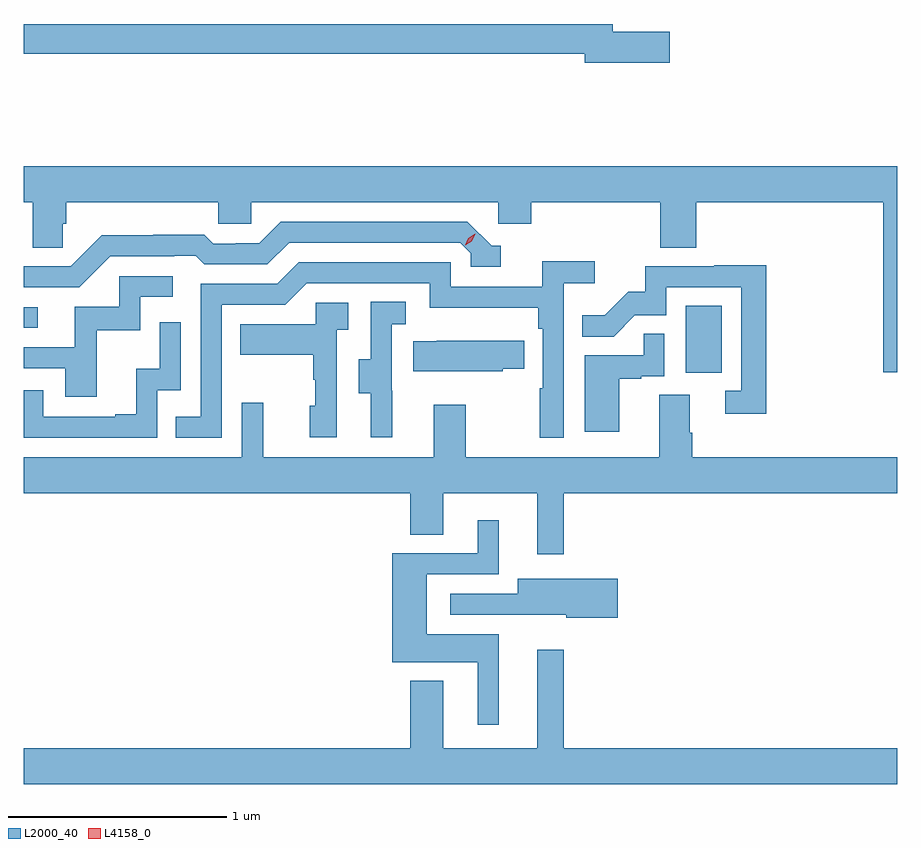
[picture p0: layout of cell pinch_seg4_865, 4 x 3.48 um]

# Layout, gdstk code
import gdstk
lib = gdstk.Library(unit=1e-6, precision=1e-09)
def R(c, l, rs):  # rectangles x0, y0, x1, y1
    for r in rs: c.add(gdstk.rectangle(r[:2], r[2:], *l))
def P(c, l, *ps):  # polygons
    for p in ps: c.add(gdstk.Polygon(p, *l))
L2000_40 = (2000, 40)
L4158_0 = (4158, 0)

pinch_seg4_865 = lib.new_cell('pinch_seg4_865')
R(pinch_seg4_865, L2000_40, [(845.348,790.71,845.512,791.017), (842.316,790.917,842.38,791.01)])
P(pinch_seg4_865, L2000_40, [(845.275,792.272),(845.014,792.272),(845.014,792.308),(842.316,792.308),(842.316,792.172),(844.886,792.172),(844.886,792.13),(845.275,792.13)],
  [(846.316,791.656),(842.316,791.656),(842.316,791.492),(842.358,791.492),(842.358,791.284),(842.495,791.284),(842.495,791.394),(842.51,791.394),(842.51,791.492),(843.207,791.492),(843.207,791.394),(843.357,791.394),(843.357,791.492),(844.488,791.492),(844.488,791.394),(844.64,791.394),(844.64,791.492),(845.231,791.492),(845.231,791.284),(845.396,791.284),(845.396,791.492),(846.251,791.492),(846.251,790.713),(846.316,790.713)],
  [(842.712,791.244),(843.005,791.244),(843.005,791.247),(843.104,791.247),(843.143,791.208),(843.432,791.208),(843.531,791.307),(844.314,791.307),(844.362,791.259),(844.362,791.196),(844.501,791.196),(844.501,791.292),(844.458,791.292),(844.347,791.403),(843.494,791.403),(843.395,791.304),(843.288,791.304),(843.288,791.301),(843.185,791.301),(843.143,791.344),(842.91,791.344),(842.91,791.341),(842.674,791.341),(842.532,791.199),(842.316,791.199),(842.316,791.103),(842.571,791.103)],
  [(843.222,791.022),(843.513,791.022),(843.612,791.121),(844.176,791.121),(844.176,791.009),(844.672,791.009),(844.672,790.913),(844.692,790.913),(844.692,790.64),(844.68,790.64),(844.68,790.413),(844.788,790.413),(844.788,791.12),(844.93,791.12),(844.93,791.222),(844.691,791.222),(844.691,791.106),(844.272,791.106),(844.272,791.217),(843.575,791.217),(843.476,791.118),(843.126,791.118),(843.126,790.509),(843.013,790.509),(843.013,790.413),(843.222,790.413)],
  [(845.717,791.204),(845.479,791.204),(845.479,791.199),(845.161,791.199),(845.161,791.082),(845.084,791.082),(844.977,790.975),(844.873,790.975),(844.873,790.876),(845.017,790.876),(845.115,790.974),(845.259,790.974),(845.259,791.103),(845.601,791.103),(845.601,790.629),(845.529,790.629),(845.529,790.524),(845.717,790.524)],
  [(842.651,790.905),(842.85,790.905),(842.85,791.058),(842.998,791.058),(842.998,791.154),(842.754,791.154),(842.754,791.013),(842.549,791.013),(842.549,790.827),(842.316,790.827),(842.316,790.731),(842.507,790.731),(842.507,790.602),(842.651,790.602)],
  [(844.004,790.629),(844.002,790.629),(844.002,790.933),(844.066,790.933),(844.066,791.036),(843.906,791.036),(843.906,790.773),(843.851,790.773),(843.851,790.618),(843.905,790.618),(843.905,790.416),(844.004,790.416)],
  [(843.75,790.907),(843.802,790.907),(843.802,791.031),(843.654,791.031),(843.654,790.933),(843.307,790.933),(843.307,790.793),(843.642,790.793),(843.642,790.679),(843.652,790.679),(843.652,790.56),(843.626,790.56),(843.626,790.416),(843.75,790.416)],
  [(842.928,790.632),(843.036,790.632),(843.036,790.942),(842.94,790.942),(842.94,790.73),(842.831,790.73),(842.831,790.522),(842.735,790.522),(842.735,790.509),(842.406,790.509),(842.406,790.632),(842.316,790.632),(842.316,790.413),(842.928,790.413)],
  [(845.044,790.683),(845.144,790.683),(845.144,790.695),(845.25,790.695),(845.25,790.889),(845.155,790.889),(845.155,790.791),(844.886,790.791),(844.886,790.44),(845.044,790.44)],
  [(844.509,790.729),(844.607,790.729),(844.607,790.858),(844.207,790.858),(844.207,790.855),(844.099,790.855),(844.099,790.718),(844.509,790.718)],
  [(844.789,790.16),(846.316,790.16),(846.316,790.324),(845.378,790.324),(845.378,790.436),(845.365,790.436),(845.365,790.61),(845.225,790.61),(845.225,790.324),(844.341,790.324),(844.341,790.564),(844.193,790.564),(844.193,790.324),(843.413,790.324),(843.413,790.573),(843.315,790.573),(843.315,790.324),(842.316,790.324),(842.316,790.16),(844.085,790.16),(844.085,789.97),(844.237,789.97),(844.237,790.16),(844.667,790.16),(844.667,789.879),(844.789,789.879)],
  [(844.492,789.514),(844.162,789.514),(844.162,789.789),(844.492,789.789),(844.492,790.036),(844.394,790.036),(844.394,789.885),(844.004,789.885),(844.004,789.386),(844.394,789.386),(844.394,789.099),(844.492,789.099)],
  [(845.035,789.768),(844.577,789.768),(844.577,789.699),(844.269,789.699),(844.269,789.603),(844.581,789.603),(844.581,789.602),(844.8,789.602),(844.8,789.59),(845.035,789.59)],
  [(846.316,788.992),(844.789,788.992),(844.789,789.442),(844.667,789.442),(844.667,788.992),(844.237,788.992),(844.237,789.301),(844.085,789.301),(844.085,788.992),(842.316,788.992),(842.316,788.828),(846.316,788.828)])
P(pinch_seg4_865, L4158_0, [(844.337,791.294),(844.337,791.294),(844.352,791.327),(844.383,791.347),(844.383,791.347),(844.383,791.347),(844.368,791.314),(844.337,791.294)])

lib.write_gds('pinch_seg4_865.gds')
